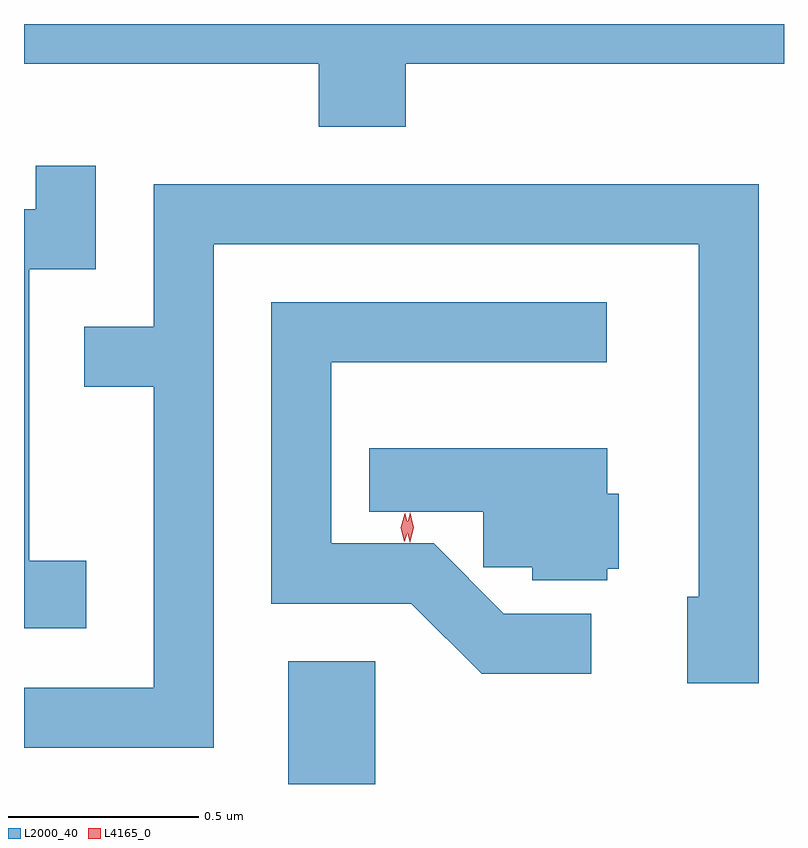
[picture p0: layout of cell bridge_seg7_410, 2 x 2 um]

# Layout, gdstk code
import gdstk
lib = gdstk.Library(unit=1e-6, precision=1e-09)
def R(c, l, rs):  # rectangles x0, y0, x1, y1
    for r in rs: c.add(gdstk.rectangle(r[:2], r[2:], *l))
def P(c, l, *ps):  # polygons
    for p in ps: c.add(gdstk.Polygon(p, *l))
L2000_40 = (2000, 40)
L4165_0 = (4165, 0)

bridge_seg7_410 = lib.new_cell('bridge_seg7_410')
R(bridge_seg7_410, L2000_40, [(1105.201,1747.941,1105.429,1748.264)])
P(bridge_seg7_410, L2000_40, [(1105.509,1749.836),(1106.505,1749.836),(1106.505,1749.941),(1104.505,1749.941),(1104.505,1749.836),(1105.281,1749.836),(1105.281,1749.671),(1105.509,1749.671)],
  [(1104.669,1748.529),(1104.519,1748.529),(1104.519,1749.296),(1104.694,1749.296),(1104.694,1749.568),(1104.536,1749.568),(1104.536,1749.454),(1104.505,1749.454),(1104.505,1748.351),(1104.669,1748.351)],
  [(1105.004,1749.361),(1106.281,1749.361),(1106.281,1748.434),(1106.251,1748.434),(1106.251,1748.206),(1106.439,1748.206),(1106.439,1749.519),(1104.846,1749.519),(1104.846,1749.144),(1104.663,1749.144),(1104.663,1748.986),(1104.846,1748.986),(1104.846,1748.194),(1104.505,1748.194),(1104.505,1748.036),(1105.004,1748.036)],
  [(1105.998,1748.389),(1105.768,1748.389),(1105.583,1748.574),(1105.314,1748.574),(1105.314,1749.051),(1106.038,1749.051),(1106.038,1749.209),(1105.156,1749.209),(1105.156,1748.416),(1105.524,1748.416),(1105.709,1748.231),(1105.998,1748.231)],
  [(1106.04,1748.507),(1106.07,1748.507),(1106.07,1748.705),(1106.04,1748.705),(1106.04,1748.825),(1105.414,1748.825),(1105.414,1748.657),(1105.714,1748.657),(1105.714,1748.511),(1105.843,1748.511),(1105.843,1748.477),(1106.04,1748.477)])
P(bridge_seg7_410, L4165_0, [(1105.521,1748.577),(1105.52,1748.578),(1105.511,1748.616),(1105.521,1748.655),(1105.522,1748.655),(1105.522,1748.655),(1105.531,1748.616),(1105.521,1748.578)],
  [(1105.506,1748.579),(1105.506,1748.58),(1105.497,1748.616),(1105.507,1748.652),(1105.508,1748.653),(1105.508,1748.652),(1105.517,1748.616),(1105.507,1748.58)])

lib.write_gds('bridge_seg7_410.gds')
